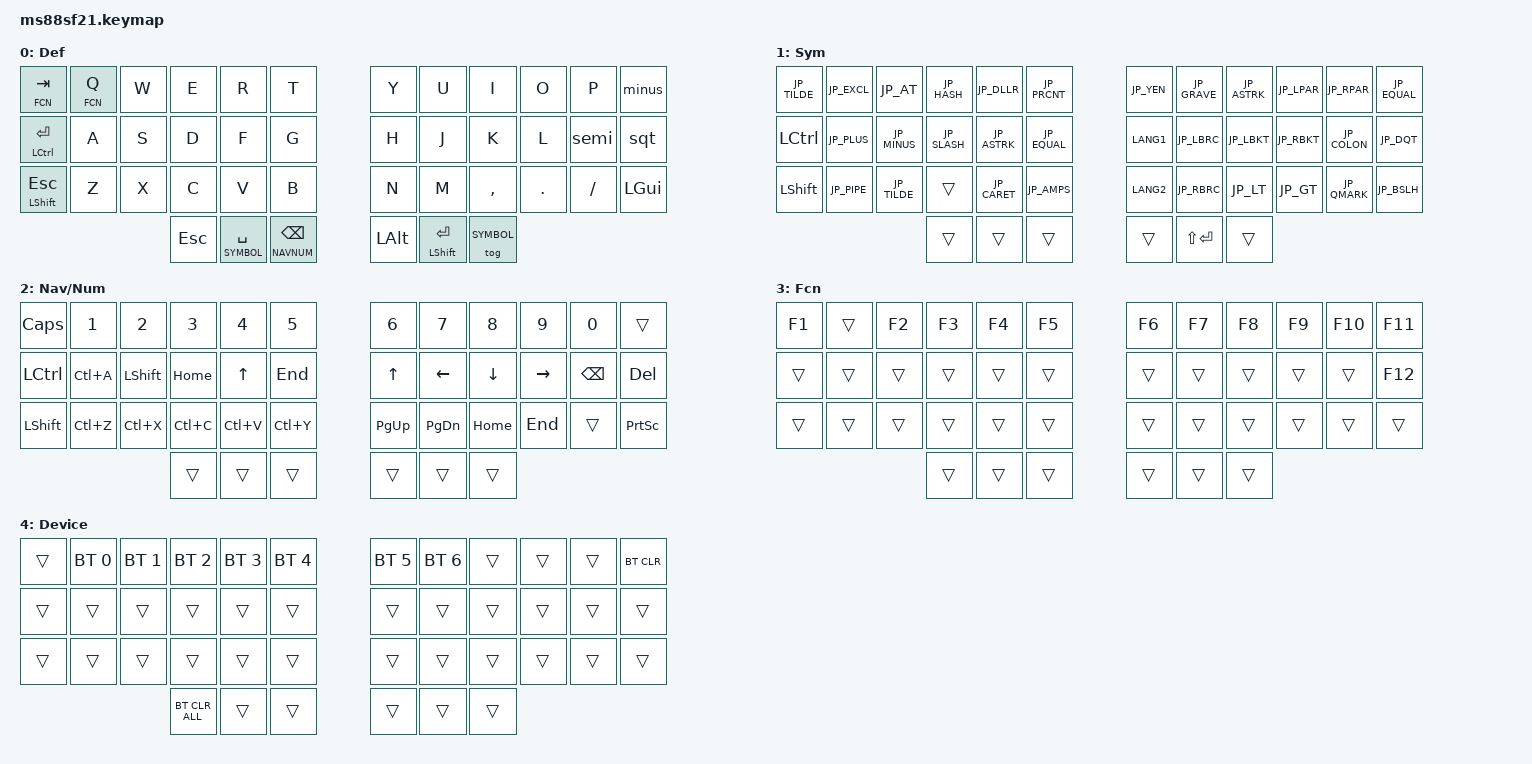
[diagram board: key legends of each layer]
#include <behaviors.dtsi>
#include <dt-bindings/zmk/bt.h>
#include <dt-bindings/zmk/keys.h>

#include "keycode_japanese.h"

#define DEFAULT 0
#define SYMBOL 1
#define NAVNUM 2
#define FCN 3
#define DEVICE 4

&mt {
    flavor = "hold-preferred";
};

&lt {
    flavor = "hold-preferred";
};

/ {
    conditional_layers {
        compatible = "zmk,conditional-layers";

        device_layer {
            if-layers = <SYMBOL NAVNUM>;
            then-layer = <DEVICE>;
        };
    };

    behaviors {
        minus: jp-minus {
            compatible = "zmk,behavior-mod-morph";
            #binding-cells = <0>;
            bindings = <&kp JP_MINUS>, <&kp JP_UNDER>;
            mods = <(MOD_LSFT|MOD_RSFT)>;
        };

        semi: jp-semi {
            compatible = "zmk,behavior-mod-morph";
            #binding-cells = <0>;
            bindings = <&kp JP_SEMI>, <&kp JP_COLON>;
            mods = <(MOD_LSFT|MOD_RSFT)>;
        };

        sqt: jp-sqt {
            compatible = "zmk,behavior-mod-morph";
            #binding-cells = <0>;
            bindings = <&kp JP_SQT>, <&kp JP_DQT>;
            mods = <(MOD_LSFT|MOD_RSFT)>;
        };

        plt: positional_layer_tap {
            compatible = "zmk,behavior-hold-tap";
            #binding-cells = <2>;
            flavor = "hold-preferred";
            tapping-term-ms = <1000>;
            quick-tap-ms = <200>;
            bindings = <&mo>, <&kp>;
            hold-trigger-key-positions = <0>;
        };

        mth: mt-hold-while-undecided {
            compatible = "zmk,behavior-hold-tap";
            #binding-cells = <2>;
            flavor = "hold-preferred";
            hold-while-undecided;
            tapping-term-ms = <200>;
            bindings = <&kp>, <&kp>;
        };

        lth: lt-hold-while-undecided {
            compatible = "zmk,behavior-hold-tap";
            #binding-cells = <2>;
            flavor = "hold-preferred";
            hold-while-undecided;
            tapping-term-ms = <200>;
            bindings = <&mo>, <&kp>;
        };
    };

    keymap {
        compatible = "zmk,keymap";

        default_layer {
            display-name = "Def";
            bindings = <
                &lth FCN TAB     &plt FCN Q          &kp W               &kp E          &kp R          &kp T        &kp Y          &kp U              &kp I      &kp O       &kp P        &minus
                &mth LCTRL RET   &kp A               &kp S               &kp D          &kp F          &kp G        &kp H          &kp J              &kp K      &kp L       &semi        &sqt
                &mth LSHIFT ESC  &kp Z               &kp X               &kp C          &kp V          &kp B        &kp N          &kp M              &kp COMMA  &kp DOT     &kp SLASH    &kp LGUI
                &kp ESC                              &lth SYMBOL SPACE   &lth NAVNUM BSPC             &kp LALT    &mt LSHFT RET                     &tog SYMBOL
            >;
        };

        symbol_layer {
            display-name = "Sym";
            bindings = <
                &kp JP_TILDE  &kp JP_EXCL   &kp JP_AT     &kp JP_HASH   &kp JP_DLLR  &kp JP_PRCNT  &kp JP_YEN    &kp JP_GRAVE  &kp JP_ASTRK  &kp JP_LPAR  &kp JP_RPAR   &kp JP_EQUAL
                &kp LCTRL     &kp JP_PLUS   &kp JP_MINUS  &kp JP_SLASH  &kp JP_ASTRK &kp JP_EQUAL  &kp LANG1     &kp JP_LBRC   &kp JP_LBKT   &kp JP_RBKT  &kp JP_COLON  &kp JP_DQT
                &kp LSHIFT    &kp JP_PIPE   &kp JP_TILDE  &trans        &kp JP_CARET &kp JP_AMPS   &kp LANG2     &kp JP_RBRC   &kp JP_LT     &kp JP_GT    &kp JP_QMARK  &kp JP_BSLH
                &trans                                    &trans        &trans                    &trans        &kp LS(RET)                             &trans
            >;
        };

        navnum_layer {
            display-name = "Nav/Num";
            bindings = <
                &kp CAPSLOCK  &kp N1     &kp N2     &kp N3     &kp N4     &kp N5     &kp N6     &kp N7    &kp N8    &kp N9     &kp N0    &trans
                &kp LCTRL     &kp LC(A)  &kp LSHIFT &kp HOME   &kp UP     &kp END    &kp UP     &kp LEFT  &kp DOWN  &kp RIGHT  &kp BSPC  &kp DEL
                &kp LSHIFT    &kp LC(Z)  &kp LC(X)  &kp LC(C)  &kp LC(V)  &kp LC(Y)  &kp PG_UP  &kp PG_DN &kp HOME  &kp END    &trans    &kp PSCRN
                &trans                              &trans     &trans                 &trans     &trans                          &trans
            >;
        };

        function_layer {
            display-name = "Fcn";
            bindings = <
                &kp F1  &trans  &kp F2  &kp F3  &kp F4  &kp F5  &kp F6  &kp F7  &kp F8  &kp F9  &kp F10 &kp F11
                &trans  &trans  &trans  &trans  &trans  &trans  &trans  &trans  &trans  &trans  &trans  &kp F12
                &trans  &trans  &trans  &trans  &trans  &trans  &trans  &trans  &trans  &trans  &trans  &trans
                &trans                   &trans  &trans           &trans  &trans                   &trans
            >;
        };

        device_layer {
            display-name = "Device";
            bindings = <
                &trans  &bt BT_SEL 0  &bt BT_SEL 1  &bt BT_SEL 2  &bt BT_SEL 3  &bt BT_SEL 4  &bt BT_SEL 5  &bt BT_SEL 6  &trans  &trans  &trans  &bt BT_CLR
                &trans  &trans        &trans        &trans        &trans        &trans        &trans        &trans        &trans  &trans  &trans  &trans
                &trans  &trans        &trans        &trans        &trans        &trans        &trans        &trans        &trans  &trans  &trans  &trans
                &bt BT_CLR_ALL                      &trans        &trans                      &trans        &trans                        &trans
            >;
        };
    };
};
